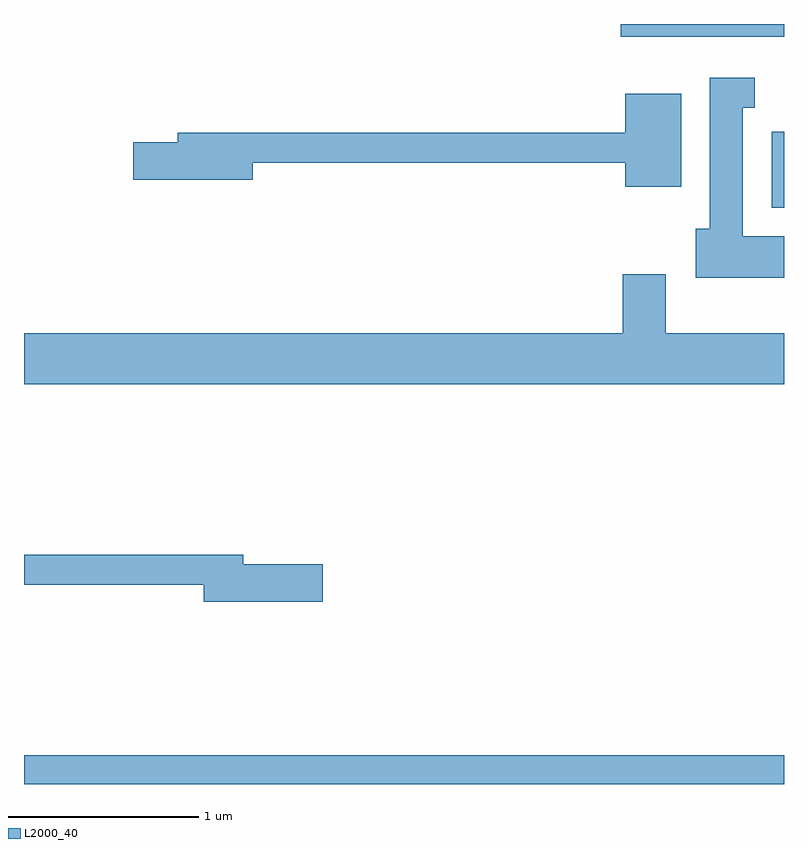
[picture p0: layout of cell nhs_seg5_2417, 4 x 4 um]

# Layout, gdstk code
import gdstk
lib = gdstk.Library(unit=1e-6, precision=1e-09)
def R(c, l, rs):  # rectangles x0, y0, x1, y1
    for r in rs: c.add(gdstk.rectangle(r[:2], r[2:], *l))
def P(c, l, *ps):  # polygons
    for p in ps: c.add(gdstk.Polygon(p, *l))
L2000_40 = (2000, 40)

nhs_seg5_2417 = lib.new_cell('nhs_seg5_2417')
R(nhs_seg5_2417, L2000_40, [(257.611,1408.072,261.611,1408.224), (261.546,1411.106,261.611,1411.504), (260.753,1412.006,261.611,1412.072)])
P(nhs_seg5_2417, L2000_40, [(261.611,1410.954),(261.394,1410.954),(261.394,1411.631),(261.457,1411.631),(261.457,1411.789),(261.221,1411.789),(261.221,1410.994),(261.146,1410.994),(261.146,1410.736),(261.611,1410.736)],
  [(261.069,1411.704),(260.776,1411.704),(260.776,1411.499),(258.421,1411.499),(258.421,1411.449),(258.186,1411.449),(258.186,1411.251),(258.814,1411.251),(258.814,1411.341),(260.776,1411.341),(260.776,1411.216),(261.069,1411.216)],
  [(261.611,1410.444),(260.989,1410.444),(260.989,1410.754),(260.761,1410.754),(260.761,1410.444),(257.611,1410.444),(257.611,1410.176),(261.611,1410.176)],
  [(259.184,1409.229),(258.764,1409.229),(258.764,1409.279),(257.611,1409.279),(257.611,1409.121),(258.556,1409.121),(258.556,1409.031),(259.184,1409.031)])

lib.write_gds('nhs_seg5_2417.gds')
